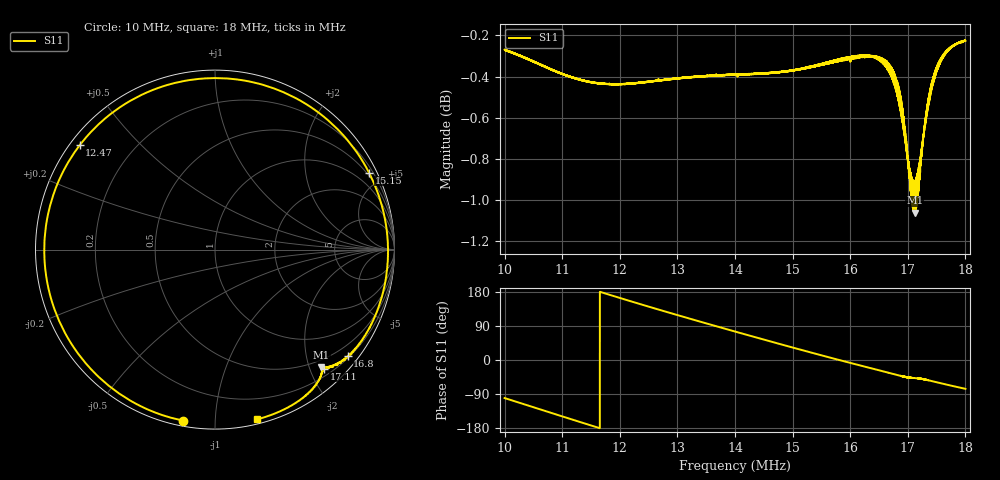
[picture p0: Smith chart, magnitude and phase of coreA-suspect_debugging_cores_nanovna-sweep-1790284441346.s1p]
! NanoVNA Web complex sweep
! Processing: unaveraged complex samples; linear segment spacing; no smoothing
# Hz S RI R 50
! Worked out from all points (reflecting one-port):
!   10100 points, 10 MHz to 18 MHz, reference 50 ohm
!   lowest |S11| = -1.1 dB at 17.12 MHz (marker M1), VSWR 16.38, Z = 18.2 - j110 ohm
!   phase of S11 starts at -100 deg and turns -336 deg over the sweep
!   S11 on the Smith chart (normalised r, x): 10 MHz: 0.03, -0.83; 12.47 MHz: 0.03, +0.34; 15.15 MHz: 0.39, +4.21; 16.8 MHz: 0.24, -2.82; 17.11 MHz: 0.32, -2.23; 18 MHz: 0.03, -1.28
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1e7  -0.1755 -0.9535
1.02273e7  -0.3527 -0.9001
1.046886e7  -0.5259 -0.8074
1.07421e7  -0.694 -0.663
1.10003e7  -0.8179 -0.4957
1.125057e7  -0.9009 -0.3136
1.149767e7  -0.9441 -0.1226
1.174636e7  -0.9484 0.0725
1.19998e7  -0.9132 0.2657
1.246787e7  -0.7536 0.5821
1.30001e7  -0.4557 0.838
1.325274e7  -0.2859 0.911
1.349985e7  -0.1107 0.9488
1.374854e7  0.0684 0.9532
1.39996e7  0.2456 0.924
1.447163e7  0.5481 0.7841
1.49991e7  0.8042 0.5207
1.515354e7  0.8582 0.4286
1.557806e7  0.9501 0.1538
1.59994e7  0.9552 -0.1276
1.641045e7  0.8847 -0.3868
1.679536e7  0.7393 -0.5936
1.69989e7  0.6368 -0.6518
1.710503e7  0.6076 -0.6625
1.71177e7  0.5934 -0.6565
1.740203e7  0.544 -0.7787
1.768715e7  0.4029 -0.8818
1.799841e7  0.235 -0.9455
